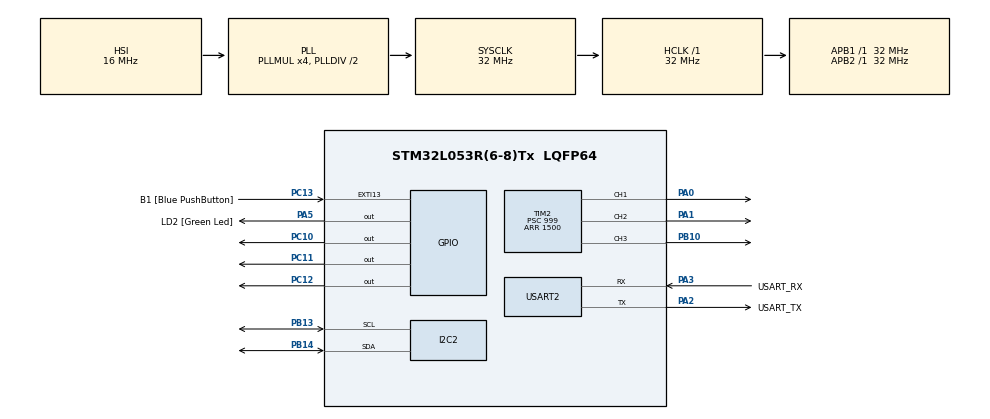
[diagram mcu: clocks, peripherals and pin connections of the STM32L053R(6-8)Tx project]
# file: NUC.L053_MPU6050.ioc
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I2C2.Timing=0x00707CBB
Mcu.Family=STM32L0
Mcu.Name=STM32L053R(6-8)Tx
Mcu.Package=LQFP64
PA0.Signal=S_TIM2_CH1
PA1.Signal=S_TIM2_CH2
PA14.GPIO_Label=TCK
PA14.Signal=SYS_SWCLK
PA2.GPIO_Label=USART_TX
PA2.Mode=Asynchronous
PA2.Signal=USART2_TX
PA3.GPIO_Label=USART_RX
PA3.Mode=Asynchronous
PA3.Signal=USART2_RX
PA5.GPIO_Label=LD2 [Green Led]
PA5.Signal=GPIO_Output
PB10.Signal=S_TIM2_CH3
PB13.Mode=I2C
PB13.Signal=I2C2_SCL
PB14.Mode=I2C
PB14.Signal=I2C2_SDA
PB8.Signal=I2C1_SCL
PB9.Signal=I2C1_SDA
PC10.Signal=GPIO_Output
PC11.Signal=GPIO_Output
PC12.Signal=GPIO_Output
PC13.GPIO_Label=B1 [Blue PushButton]
PC13.GPIO_ModeDefaultEXTI=GPIO_MODE_IT_FALLING
PC13.Signal=GPXTI13
PC14-OSC32_IN.Signal=RCC_OSC32_IN
PC15-OSC32_OUT.Signal=RCC_OSC32_OUT
PH0-OSC_IN.Signal=RCC_OSC_IN
PH1-OSC_OUT.Signal=RCC_OSC_OUT
ProjectManager.HeapSize=0x200
ProjectManager.StackSize=0x400
ProjectManager.TargetToolchain=STM32CubeIDE
RCC.AHBFreq_Value=32000000
RCC.APB1Freq_Value=32000000
RCC.APB1TimFreq_Value=32000000
RCC.APB2Freq_Value=32000000
RCC.APB2TimFreq_Value=32000000
RCC.HCLKFreq_Value=32000000
RCC.HSE_VALUE=8000000
RCC.HSI16_VALUE=16000000
RCC.HSI48_VALUE=48000000
RCC.HSI_VALUE=16000000
RCC.LSEState=RCC_LSE_ON
RCC.LSE_VALUE=32768
RCC.MSI_VALUE=2097000
RCC.PLLMUL=RCC_PLLMUL_4
RCC.SYSCLKFreq_VALUE=32000000
RCC.SYSCLKSource=RCC_SYSCLKSOURCE_PLLCLK
RCC.VCOOutputFreq_Value=64000000
SH.S_TIM2_CH1.0=TIM2_CH1,PWM Generation1 CH1
SH.S_TIM2_CH2.0=TIM2_CH2,PWM Generation2 CH2
SH.S_TIM2_CH3.0=TIM2_CH3,PWM Generation3 CH3
TIM2.Channel-PWM\ Generation1\ CH1=TIM_CHANNEL_1
TIM2.Channel-PWM\ Generation2\ CH2=TIM_CHANNEL_2
TIM2.Channel-PWM\ Generation3\ CH3=TIM_CHANNEL_3
TIM2.Period=1500
TIM2.Prescaler=999
USART2.VirtualMode-Asynchronous=VM_ASYNC
board=NUCLEO-L053R8

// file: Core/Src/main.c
/* USER CODE BEGIN Header */
/**
  ******************************************************************************
  * @file           : main.c
  * @brief          : Main program body
  ******************************************************************************
  * @attention
  *
  * <h2><center>&copy; Copyright (c) 2019 STMicroelectronics.
  * All rights reserved.</center></h2>
  *
  * This software component is licensed by ST under BSD 3-Clause license,
  * the "License"; You may not use this file except in compliance with the
  * License. You may obtain a copy of the License at:
  *                        opensource.org/licenses/BSD-3-Clause
  *
  ******************************************************************************
  */
/* USER CODE END Header */
#include "main.h"
#include "i2c.h"
#include "tim.h"
#include "usart.h"
#include "gpio.h"

/* USER CODE BEGIN Includes */
#include "mpu6050.h"
#include "string.h"
#include "stdio.h"

/* USER CODE END Includes */

/* USER CODE BEGIN PTD */
extern float Ax, Ay, Az, Gx, Gy, Gz;
char buf[1024];
uint32_t mappedpwm;

/* USER CODE END PTD */

void SystemClock_Config(void);
/* USER CODE BEGIN PFP */
int map(int x, int in_min, int in_max, int out_min, int out_max) {
    return ((x - in_min) * (out_max - out_min) / (in_max - in_min) + out_min);
}
int abs(int x) {
    if (x < 0) {
        return -x;
    } else {
        return x;
    }
}
/* USER CODE END PFP */

int main(void)
{

  /* MCU Configuration--------------------------------------------------------*/

  /* Reset of all peripherals, Initializes the Flash interface and the Systick. */
  HAL_Init();

  /* Configure the system clock */
  SystemClock_Config();

  /* Initialize all configured peripherals */
  MX_GPIO_Init();
  MX_USART2_UART_Init();
  MX_I2C2_Init();
  MX_TIM2_Init();
  /* USER CODE BEGIN 2 */
  MPU6050_Init();
  HAL_Delay (1000);  // wait for 1 sec
  HAL_TIM_PWM_Start(&htim2, TIM_CHANNEL_1);
  HAL_TIM_PWM_Start(&htim2, TIM_CHANNEL_2);
  HAL_TIM_PWM_Start(&htim2, TIM_CHANNEL_3);

  /* USER CODE END 2 */

  /* Infinite loop */
  while (1)
  {

    /* USER CODE BEGIN 3 */

	  // read the Accelerometer and Gyro values

	  MPU6050_Read_Accel();
	  MPU6050_Read_Gyro();

	  // print the Acceleration and Gyro values on the LCD 20x4

	  sprintf (buf, "X Ekseni %.2f ", Ax);
	  HAL_UART_Transmit(&huart2, (uint8_t*)buf, strlen(buf), 250);
	  if(Ax>=1||Ax>=-1){
		  if(abs(Ax)<=0.25)
			  __HAL_TIM_SET_COMPARE(&htim2, TIM_CHANNEL_1, 500);
		  else if (abs(Ax)<=0.5)
			  __HAL_TIM_SET_COMPARE(&htim2, TIM_CHANNEL_1, 1000);
		  else if(abs(Ax)<=1)
			  __HAL_TIM_SET_COMPARE(&htim2, TIM_CHANNEL_1, 1500);

	  }
	  else
		  __HAL_TIM_SET_COMPARE(&htim2, TIM_CHANNEL_1, 0);

	  sprintf (buf, "Y Ekseni %.2f ", Ay);
	  HAL_UART_Transmit(&huart2, (uint8_t*)buf, strlen(buf), 250);
	  if(Ay>=1||Ay>=-1){
	 		  if(abs(Ay)<=0.25)
	 			  __HAL_TIM_SET_COMPARE(&htim2, TIM_CHANNEL_2, 500);
	 		  else if (abs(Ay)<=0.5)
	 			  __HAL_TIM_SET_COMPARE(&htim2, TIM_CHANNEL_2, 1000);
	 		  else if(abs(Ay)<=1)
	 			  __HAL_TIM_SET_COMPARE(&htim2, TIM_CHANNEL_2, 1500);

	 	  }
	 	  else
	 		  __HAL_TIM_SET_COMPARE(&htim2, TIM_CHANNEL_2, 0);

	  sprintf (buf, "Z Ekseni %.2f\n", Az);
	  HAL_UART_Transmit(&huart2, (uint8_t*)buf, strlen(buf), 250);
	  if(Az>=1||Az>=-1){
	 		  if(abs(Az)<=0.25)
	 			  __HAL_TIM_SET_COMPARE(&htim2, TIM_CHANNEL_3, 500);
	 		  else if (abs(Az)<=0.5)
	 			  __HAL_TIM_SET_COMPARE(&htim2, TIM_CHANNEL_3, 1000);
	 		  else if(abs(Az)<=1)
	 			  __HAL_TIM_SET_COMPARE(&htim2, TIM_CHANNEL_3, 1500);

	 	  }
	 	  else
	 		  __HAL_TIM_SET_COMPARE(&htim2, TIM_CHANNEL_3, 0);

	  sprintf (buf, "GX: %.2f ", Gx);
	  HAL_UART_Transmit(&huart2, (uint8_t*)buf, strlen(buf), 250);

	  sprintf (buf, "GY Ekseni %.2f ", Gy);
	  HAL_UART_Transmit(&huart2, (uint8_t*)buf, strlen(buf), 250);

	  sprintf (buf, "GZ Ekseni %.2f\n", Gz);
	  HAL_UART_Transmit(&huart2, (uint8_t*)buf, strlen(buf), 250);

	  HAL_Delay (250);  // wait for a while
  }
  /* USER CODE END 3 */
}

void SystemClock_Config(void)
{
  RCC_OscInitTypeDef RCC_OscInitStruct = {0};
  RCC_ClkInitTypeDef RCC_ClkInitStruct = {0};
  RCC_PeriphCLKInitTypeDef PeriphClkInit = {0};

  /** Configure the main internal regulator output voltage
  */
  __HAL_PWR_VOLTAGESCALING_CONFIG(PWR_REGULATOR_VOLTAGE_SCALE1);

  /** Initializes the RCC Oscillators according to the specified parameters
  * in the RCC_OscInitTypeDef structure.
  */
  RCC_OscInitStruct.OscillatorType = RCC_OSCILLATORTYPE_HSI;
  RCC_OscInitStruct.HSIState = RCC_HSI_ON;
  RCC_OscInitStruct.HSICalibrationValue = RCC_HSICALIBRATION_DEFAULT;
  RCC_OscInitStruct.PLL.PLLState = RCC_PLL_ON;
  RCC_OscInitStruct.PLL.PLLSource = RCC_PLLSOURCE_HSI;
  RCC_OscInitStruct.PLL.PLLMUL = RCC_PLLMUL_4;
  RCC_OscInitStruct.PLL.PLLDIV = RCC_PLLDIV_2;
  if (HAL_RCC_OscConfig(&RCC_OscInitStruct) != HAL_OK)
  {
    Error_Handler();
  }

  /** Initializes the CPU, AHB and APB buses clocks
  */
  RCC_ClkInitStruct.ClockType = RCC_CLOCKTYPE_HCLK|RCC_CLOCKTYPE_SYSCLK
                              |RCC_CLOCKTYPE_PCLK1|RCC_CLOCKTYPE_PCLK2;
  RCC_ClkInitStruct.SYSCLKSource = RCC_SYSCLKSOURCE_PLLCLK;
  RCC_ClkInitStruct.AHBCLKDivider = RCC_SYSCLK_DIV1;
  RCC_ClkInitStruct.APB1CLKDivider = RCC_HCLK_DIV1;
  RCC_ClkInitStruct.APB2CLKDivider = RCC_HCLK_DIV1;

  if (HAL_RCC_ClockConfig(&RCC_ClkInitStruct, FLASH_LATENCY_1) != HAL_OK)
  {
    Error_Handler();
  }
  PeriphClkInit.PeriphClockSelection = RCC_PERIPHCLK_USART2;
  PeriphClkInit.Usart2ClockSelection = RCC_USART2CLKSOURCE_PCLK1;
  if (HAL_RCCEx_PeriphCLKConfig(&PeriphClkInit) != HAL_OK)
  {
    Error_Handler();
  }
}

void Error_Handler(void)
{
}
